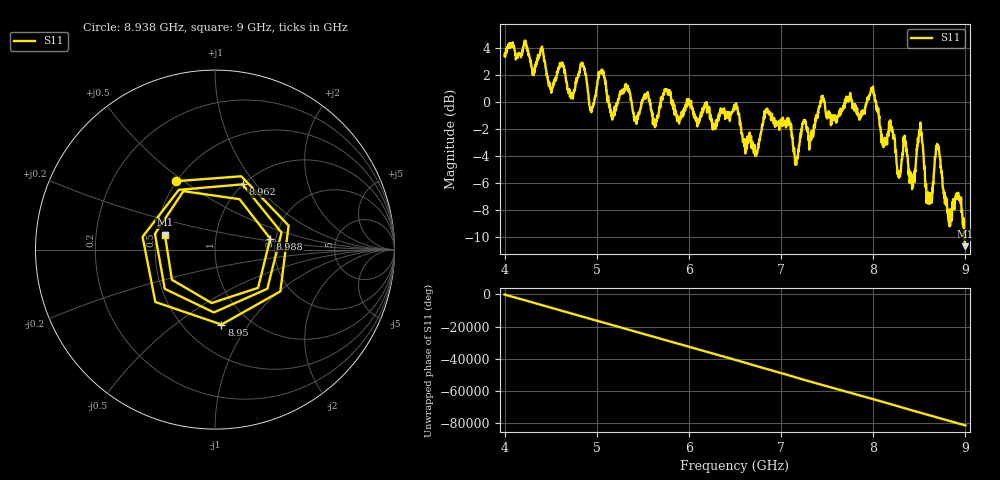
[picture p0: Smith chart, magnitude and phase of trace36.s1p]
! Created with skrf 1.8.0 (http://scikit-rf.org).
# Hz S RI R 50.0
!freq ReS11 ImS11
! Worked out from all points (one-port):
!   1601 points, 4 GHz to 9 GHz, reference 50 ohm
!   lowest |S11| = -10.7 dB at 9 GHz (marker M1), VSWR 1.82, Z = 27.8 + j5.07 ohm
!   |S11| at or under -10 dB: 8.983787 GHz to 8.989027 GHz (5.241 MHz wide, 0.0583 % of centre); 8.991598 GHz to end of sweep
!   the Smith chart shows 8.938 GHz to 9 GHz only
!   S11 on the Smith chart (normalised r, x): 8.938 GHz: 0.50, +0.47; 8.95 GHz: 0.75, -0.76; 8.962 GHz: 1.00, +0.86; 8.988 GHz: 1.87, +0.25; 9 GHz: 0.56, +0.10
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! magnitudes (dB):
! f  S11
! 4 GHz  3.4
! 4.506 GHz  0.7
! 4.625 GHz  2.6
! 4.728 GHz  0.6
! 4.847 GHz  2.9
! 4.944 GHz  -0.7
! 5.05 GHz  2.4
! 5.159 GHz  -1.1
! 5.25 GHz  0.6
! 5.875 GHz  -1.0
! 6.5 GHz  -0.3
! 6.719 GHz  -4.0
! 6.844 GHz  -0.6
! 7.125 GHz  -2.7
! 7.75 GHz  0.7
! 7.991 GHz  1.1
! 8.109 GHz  -2.8
! 8.375 GHz  -4.3
! 8.431 GHz  -6.3
! 8.509 GHz  -1.9
! 8.603 GHz  -6.8
! 8.697 GHz  -3.2
! 8.828 GHz  -9.2
! 8.938 GHz  -7.2
! 8.95 GHz  -7.6
! 8.962 GHz  -8.1
! 8.988 GHz  -10.1
! 9 GHz  -10.7
